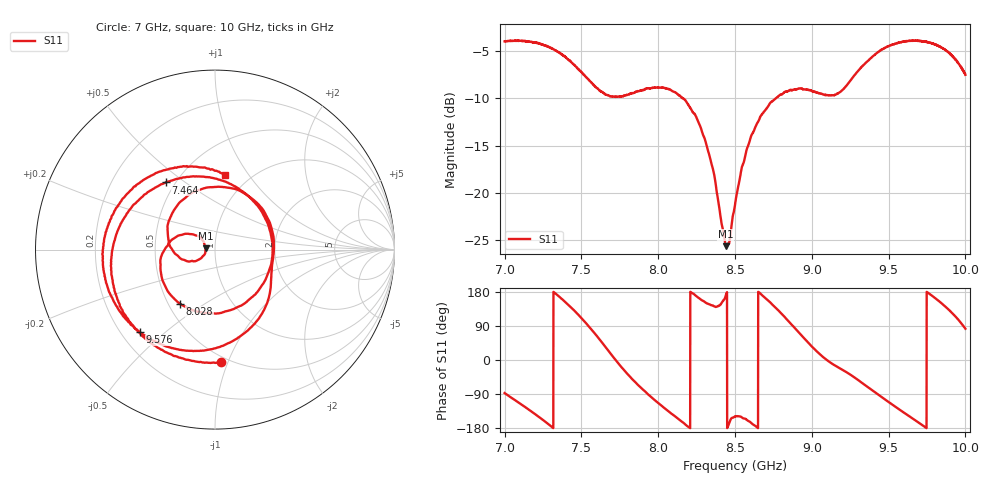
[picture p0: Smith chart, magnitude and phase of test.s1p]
#  HZ  S  RI  R  50.00
! Rohde & Schwarz ZVA40 4Ports - Version 3.90 - 1145.1110k45 SN: 100121
! Date: 2020-07-01 13:18:37
! Measurement: S11
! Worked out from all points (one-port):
!   3001 points, 7 GHz to 10 GHz, reference 50 ohm
!   lowest |S11| = -25.6 dB at 8.441 GHz (marker M1), VSWR 1.11, Z = 45.1 + j0.696 ohm
!   |S11| at or under -10 dB: 8.156 GHz to 8.767 GHz (611 MHz wide, 7.22 % of centre)
!   S11 on the Smith chart (normalised r, x): 7 GHz: 0.45, -0.94; 7.464 GHz: 0.45, +0.42; 8.028 GHz: 0.57, -0.40; 9.576 GHz: 0.28, -0.41; 10 GHz: 0.77, +0.78
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7e9  0.0309 -0.6284
7.107e9  -0.2864 -0.5647
7.219e9  -0.5266 -0.3172
7.299e9  -0.5793 -0.0614
7.375e9  -0.503 0.181
7.464e9  -0.273 0.374
7.579e9  0.1029 0.3574
7.666e9  0.2864 0.1612
7.75e9  0.3135 -0.076
7.887e9  0.1016 -0.3321
8.028e9  -0.1945 -0.3025
8.125e9  -0.2981 -0.1467
8.3e9  -0.1766 0.085
8.441e9  -0.0519 0.00771
8.5e9  -0.0739 -0.0446
8.593e9  -0.1759 -0.0566
8.723e9  -0.2647 0.1251
8.875e9  -0.0045 0.3483
9.027e9  0.308 0.1437
9.25e9  0.3054 -0.2417
9.332e9  0.2208 -0.4136
9.433e9  -0.0139 -0.5531
9.576e9  -0.4184 -0.4597
9.625e9  -0.5224 -0.3553
9.72e9  -0.6247 -0.0855
9.809e9  -0.574 0.1922
9.917e9  -0.2811 0.4425
1e10  0.0542 0.4156
